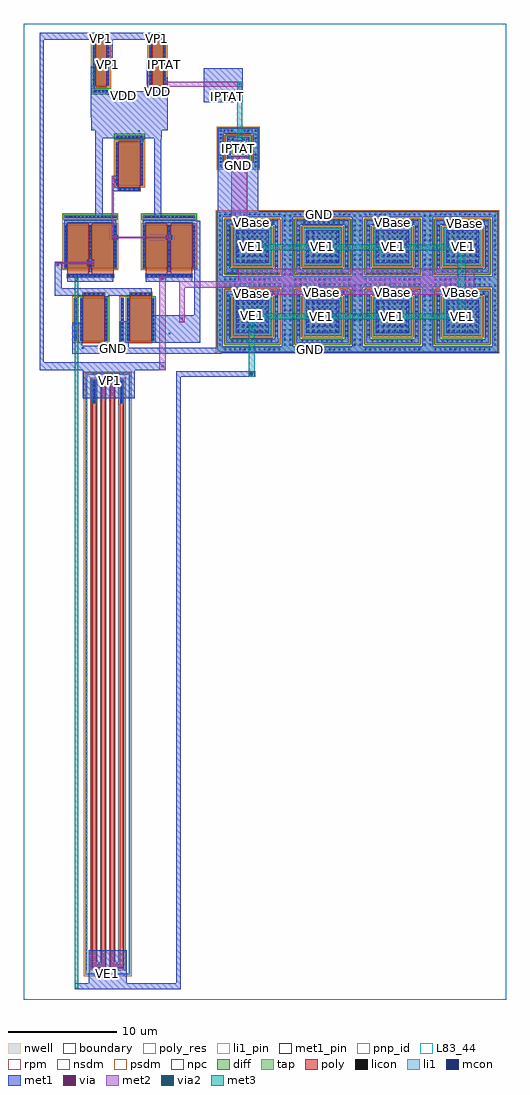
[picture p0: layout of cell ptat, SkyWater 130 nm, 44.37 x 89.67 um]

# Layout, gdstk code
from math import pi, radians
import gdstk
lib = gdstk.Library(unit=1e-6, precision=1e-09)
def R(c, l, rs):  # rectangles x0, y0, x1, y1
    for r in rs: c.add(gdstk.rectangle(r[:2], r[2:], *l))
def A(c, l, x, y, w, h, nx, ny, dx, dy):  # array of equal rectangles
    R(c, l, [(x+i*dx, y+j*dy, x+i*dx+w, y+j*dy+h) for i in range(nx) for j in range(ny)])
def P(c, l, *ps):  # polygons
    for p in ps: c.add(gdstk.Polygon(p, *l))
nwell = (64, 20)
diff = (65, 20)
tap = (65, 44)
poly_res = (66, 13)
poly = (66, 20)
licon = (66, 44)
li1_pin = (67, 16)
li1 = (67, 20)
mcon = (67, 44)
met1_pin = (68, 16)
met1 = (68, 20)
via = (68, 44)
met2 = (69, 20)
via2 = (69, 44)
met3 = (70, 20)
pnp_id = (82, 44)
L83_44 = (83, 44)
rpm = (86, 20)
nsdm = (93, 44)
psdm = (94, 20)
npc = (95, 20)
boundary = (235, 4)

m1m2_c_cdns_778501236214 = lib.new_cell('M1M2_C_CDNS_778501236214')
R(m1m2_c_cdns_778501236214, met1, [(-0.13,-0.16,0.13,0.16)])
R(m1m2_c_cdns_778501236214, via, [(-0.075,-0.075,0.075,0.075)])
R(m1m2_c_cdns_778501236214, met2, [(-0.13,-0.16,0.13,0.16)])

ota = lib.new_cell('ota')
R(ota, nwell, [(1.19,7.905,6.36,13.135), (8.415,7.905,13.585,13.135), (5.915,15.465,8.805,20.455)])
R(ota, diff, [(2.825,1.345,3.09,5.345), (3.09,1.345,5.09,5.345), (5.09,1.345,5.355,5.345), (7.135,1.345,7.4,5.345), (7.4,1.345,9.4,5.345), (9.4,1.345,9.665,5.345), (1.37,8.085,1.635,12.085), (1.635,8.085,3.635,12.085), (3.635,8.085,3.915,12.085), (3.915,8.085,5.915,12.085), (5.915,8.085,6.18,12.085), (8.595,8.085,8.86,12.085), (8.86,8.085,10.86,12.085), (10.86,8.085,11.14,12.085), (11.14,8.085,13.14,12.085), (13.14,8.085,13.405,12.085), (6.095,15.645,6.36,19.645), (6.36,15.645,8.36,19.645), (8.36,15.645,8.625,19.645)])
R(ota, tap, [(2.265,1.345,2.555,5.345), (6.575,1.345,6.865,5.345), (1.37,12.665,6.18,12.955), (8.595,12.665,13.405,12.955), (6.095,19.985,8.625,20.275)])
R(ota, poly, [(3.09,1.195,5.09,1.345), (7.4,1.195,9.4,1.345), (3.09,1.345,5.09,5.345), (7.4,1.345,9.4,5.345), (3.09,5.345,5.09,5.535), (7.4,5.345,9.4,5.535), (3.09,5.535,5.09,5.805), (7.4,5.535,9.4,5.805), (1.635,7.225,5.915,7.495), (8.86,7.225,13.14,7.495), (1.635,7.495,3.635,8.085), (3.915,7.495,5.915,8.085), (8.86,7.495,10.86,8.085), (11.14,7.495,13.14,8.085), (1.635,8.085,3.635,12.085), (3.915,8.085,5.915,12.085), (8.86,8.085,10.86,12.085), (11.14,8.085,13.14,12.085), (1.635,12.085,3.635,12.235), (3.915,12.085,5.915,12.235), (8.86,12.085,10.86,12.235), (11.14,12.085,13.14,12.235), (6.36,15.185,8.36,15.455), (6.36,15.455,8.36,15.645), (6.36,15.645,8.36,19.645), (6.36,19.645,8.36,19.795)])
A(ota, licon, 2.325, 1.56, 0.17, 0.17, 1, 11, 0, 0.34)
A(ota, licon, 2.865, 1.56, 0.17, 0.17, 1, 11, 0, 0.34)
A(ota, licon, 5.145, 1.56, 0.17, 0.17, 1, 11, 0, 0.34)
A(ota, licon, 6.635, 1.56, 0.17, 0.17, 1, 11, 0, 0.34)
A(ota, licon, 7.175, 1.56, 0.17, 0.17, 1, 11, 0, 0.34)
A(ota, licon, 9.455, 1.56, 0.17, 0.17, 1, 11, 0, 0.34)
A(ota, licon, 3.17, 5.585, 0.17, 0.17, 3, 1, 0.42, 0)
A(ota, licon, 7.48, 5.585, 0.17, 0.17, 3, 1, 0.42, 0)
A(ota, licon, 1.715, 7.275, 0.17, 0.17, 10, 1, 0.36, 0)
A(ota, licon, 8.94, 7.275, 0.17, 0.17, 10, 1, 0.36, 0)
A(ota, licon, 1.41, 8.3, 0.17, 0.17, 3, 11, 2.28, 0.34)
A(ota, licon, 8.635, 8.3, 0.17, 0.17, 3, 11, 2.28, 0.34)
A(ota, licon, 1.65, 12.725, 0.17, 0.17, 13, 1, 0.34, 0)
A(ota, licon, 8.875, 12.725, 0.17, 0.17, 13, 1, 0.34, 0)
A(ota, licon, 6.44, 15.235, 0.17, 0.17, 3, 1, 0.42, 0)
A(ota, licon, 6.135, 15.86, 0.17, 0.17, 1, 11, 0, 0.34)
A(ota, licon, 8.415, 15.86, 0.17, 0.17, 1, 11, 0, 0.34)
A(ota, licon, 6.255, 20.045, 0.17, 0.17, 7, 1, 0.34, 0)
R(ota, licon, [(4.425,5.585,4.595,5.755), (4.84,5.585,5.01,5.755), (8.735,5.585,8.905,5.755), (9.15,5.585,9.32,5.755), (5.31,7.275,5.48,7.445), (5.665,7.275,5.835,7.445), (12.535,7.275,12.705,7.445), (12.89,7.275,13.06,7.445), (7.695,15.235,7.865,15.405), (8.11,15.235,8.28,15.405)])
A(ota, li1, 1.41, 8.085, 0.17, 4, 3, 1, 2.28, 0)
A(ota, li1, 8.635, 8.085, 0.17, 4, 3, 1, 2.28, 0)
R(ota, li1, [(2.275,1.345,2.545,5.345), (2.865,1.345,3.035,5.345), (5.145,1.345,5.315,5.345), (6.585,1.345,6.855,5.345), (7.175,1.345,7.345,5.345), (9.455,1.345,9.625,5.345), (3.09,5.555,5.09,5.785), (7.4,5.555,9.4,5.785), (1.635,7.245,5.915,7.475), (8.86,7.245,13.14,7.475), (1.38,12.675,6.17,12.945), (8.605,12.675,13.395,12.945), (6.36,15.205,8.36,15.435), (6.135,15.645,6.305,19.645), (8.415,15.645,8.585,19.645), (6.105,19.995,8.615,20.265)])
A(ota, mcon, 2.325, 1.46, 0.17, 0.17, 1, 11, 0, 0.36)
A(ota, mcon, 2.865, 1.46, 0.17, 0.17, 1, 11, 0, 0.36)
A(ota, mcon, 5.145, 1.46, 0.17, 0.17, 1, 11, 0, 0.36)
A(ota, mcon, 6.635, 1.46, 0.17, 0.17, 1, 11, 0, 0.36)
A(ota, mcon, 7.175, 1.46, 0.17, 0.17, 1, 11, 0, 0.36)
A(ota, mcon, 9.455, 1.46, 0.17, 0.17, 1, 11, 0, 0.36)
A(ota, mcon, 3.17, 5.585, 0.17, 0.17, 3, 1, 0.42, 0)
A(ota, mcon, 7.48, 5.585, 0.17, 0.17, 3, 1, 0.42, 0)
A(ota, mcon, 1.715, 7.275, 0.17, 0.17, 11, 1, 0.395, 0)
A(ota, mcon, 8.94, 7.275, 0.17, 0.17, 11, 1, 0.395, 0)
A(ota, mcon, 1.41, 8.2, 0.17, 0.17, 3, 11, 2.28, 0.36)
A(ota, mcon, 8.635, 8.2, 0.17, 0.17, 3, 11, 2.28, 0.36)
A(ota, mcon, 1.53, 12.725, 0.17, 0.17, 13, 1, 0.36, 0)
A(ota, mcon, 8.755, 12.725, 0.17, 0.17, 13, 1, 0.36, 0)
A(ota, mcon, 6.44, 15.235, 0.17, 0.17, 3, 1, 0.42, 0)
A(ota, mcon, 6.135, 15.76, 0.17, 0.17, 1, 11, 0, 0.36)
A(ota, mcon, 8.415, 15.76, 0.17, 0.17, 1, 11, 0, 0.36)
A(ota, mcon, 6.195, 20.045, 0.17, 0.17, 7, 1, 0.36, 0)
R(ota, mcon, [(4.425,5.585,4.595,5.755), (4.84,5.585,5.01,5.755), (8.735,5.585,8.905,5.755), (9.15,5.585,9.32,5.755), (7.695,15.235,7.865,15.405), (8.11,15.235,8.28,15.405)])
R(ota, met1_pin, [(3.005,0.66,3.145,0.8), (10.99,2.025,11.13,2.165), (2.335,6.93,2.565,7.175), (10.365,7.04,10.505,7.18), (8.185,20.63,8.3,20.725)])
A(ota, met1, 1.38, 8.085, 0.23, 4, 3, 1, 2.28, 0)
A(ota, met1, 8.605, 8.085, 0.23, 4, 3, 1, 2.28, 0)
R(ota, met1, [(2.12,0.215,7.32,0.945), (2.12,0.555,3.02,3.08), (6.455,0.555,7.32,3.22), (9.495,1.215,13.875,3.73), (13.3,1.215,13.875,12.435), (2.275,1.345,2.545,5.345), (2.835,1.345,3.065,5.345), (5.115,1.345,5.345,5.345), (6.585,1.345,6.855,5.345), (7.145,1.345,7.375,5.345), (9.425,1.345,9.655,5.345), (5.075,3.525,5.36,6.08), (3.09,5.535,5.09,5.805), (7.4,5.535,9.4,5.805), (0.485,5.54,1.13,8.645), (0.485,5.54,9.41,6.21), (1.645,6.825,5.885,7.465), (8.88,6.825,13.12,7.465), (1.635,7.225,5.915,7.495), (8.86,7.225,13.14,7.495), (3.66,7.685,3.89,7.915), (10.885,7.685,11.115,7.915), (3.66,7.915,3.89,8.085), (10.885,7.915,11.115,8.085), (3.5,8.26,4.075,8.855), (5.755,10.75,6.33,11.11), (10.72,10.75,11.295,11.11), (1.38,12.085,1.61,12.255), (5.94,12.085,6.17,12.255), (8.605,12.085,8.835,12.255), (13.165,12.085,13.395,12.255), (1.38,12.255,6.17,12.485), (8.605,12.255,13.395,12.485), (1.38,12.675,6.17,12.945), (8.605,12.675,13.395,12.945), (4.245,12.685,4.91,20.905), (9.645,12.69,10.31,20.91), (5.76,15.14,6.605,15.475), (5.76,15.14,6.305,16.565), (6.36,15.185,8.36,15.455), (6.105,15.645,6.335,19.645), (8.385,15.645,8.615,19.645), (8.375,19.415,8.65,20.375), (4.245,19.995,10.335,20.91), (6.105,19.995,8.615,20.265)])
R(ota, met2, [(0.485,8.495,4.075,8.64), (5.76,10.765,5.915,16.565), (5.785,10.83,11.15,10.975)])
R(ota, nsdm, [(2.685,1.215,5.495,5.475), (6.995,1.215,9.805,5.475), (1.24,12.535,6.31,13.085), (8.465,12.535,13.535,13.085), (5.965,19.855,8.755,20.405)])
R(ota, psdm, [(2.125,1.205,2.695,5.485), (6.435,1.205,7.005,5.485), (1.23,7.955,6.32,12.215), (8.455,7.955,13.545,12.215), (5.955,15.515,8.765,19.775)])
R(ota, npc, [(3.04,5.485,5.14,5.855), (7.35,5.485,9.45,5.855), (1.585,7.175,5.965,7.545), (8.81,7.175,13.19,7.545), (6.31,15.135,8.41,15.505)])
ota.add(gdstk.Reference(m1m2_c_cdns_778501236214, (0.795,8.44)))
ota.add(gdstk.Reference(m1m2_c_cdns_778501236214, (5.95,10.93)))
ota.add(gdstk.Reference(m1m2_c_cdns_778501236214, (10.96,10.91)))
ota.add(gdstk.Reference(m1m2_c_cdns_778501236214, (5.96,16.075)))
ota.add(gdstk.Reference(m1m2_c_cdns_778501236214, (3.835,8.595)))
ota.add(gdstk.Label('VDD', (7.36,17.96), layer=64, texttype=20))
ota.add(gdstk.Label('VDD', (3.775,10.52), layer=64, texttype=20))
ota.add(gdstk.Label('VDD', (11,10.52), layer=64, texttype=20))
ota.add(gdstk.Label('V1', (2.45,7.052), layer=68, texttype=16))
ota.add(gdstk.Label('V2', (10.435,7.11), layer=68, texttype=16))
ota.add(gdstk.Label('GND', (3.075,0.73), layer=68, texttype=16))
ota.add(gdstk.Label('Vout', (11.06,2.095), layer=68, texttype=16))
ota.add(gdstk.Label('VDD', (8.242,20.677), layer=68, texttype=16))
ota.add(gdstk.Label('VDD', (7.36,20.13), layer=68, texttype=20))
ota.add(gdstk.Label('net2', (7.36,15.32), layer=68, texttype=20))
ota.add(gdstk.Label('VDD', (8.5,17.645), layer=68, texttype=20))
ota.add(gdstk.Label('net2', (6.22,17.645), layer=68, texttype=20))
ota.add(gdstk.Label('GND', (2.41,3.345), layer=68, texttype=20))
ota.add(gdstk.Label('net8', (4.09,5.67), layer=68, texttype=20))
ota.add(gdstk.Label('net8', (5.23,3.345), layer=68, texttype=20))
ota.add(gdstk.Label('GND', (2.95,3.345), layer=68, texttype=20))
ota.add(gdstk.Label('GND', (6.72,3.345), layer=68, texttype=20))
ota.add(gdstk.Label('net8', (8.4,5.67), layer=68, texttype=20))
ota.add(gdstk.Label('Vout', (9.54,3.345), layer=68, texttype=20))
ota.add(gdstk.Label('GND', (7.26,3.345), layer=68, texttype=20))
ota.add(gdstk.Label('VDD', (3.775,12.81), layer=68, texttype=20))
ota.add(gdstk.Label('V1', (3.775,7.36), layer=68, texttype=20))
ota.add(gdstk.Label('net8', (3.775,7.8), layer=68, texttype=20))
ota.add(gdstk.Label('net8', (3.775,8), layer=68, texttype=20))
ota.add(gdstk.Label('net8', (3.775,10.085), layer=68, texttype=20))
ota.add(gdstk.Label('net2', (3.775,12.37), layer=68, texttype=20))
ota.add(gdstk.Label('net2', (6.055,12.17), layer=68, texttype=20))
ota.add(gdstk.Label('net2', (1.495,12.17), layer=68, texttype=20))
ota.add(gdstk.Label('net2', (6.055,10.085), layer=68, texttype=20))
ota.add(gdstk.Label('net2', (1.495,10.085), layer=68, texttype=20))
ota.add(gdstk.Label('VDD', (11,12.81), layer=68, texttype=20))
ota.add(gdstk.Label('V2', (11,7.36), layer=68, texttype=20))
ota.add(gdstk.Label('net2', (11,7.8), layer=68, texttype=20))
ota.add(gdstk.Label('net2', (11,8), layer=68, texttype=20))
ota.add(gdstk.Label('net2', (11,10.085), layer=68, texttype=20))
ota.add(gdstk.Label('Vout', (11,12.37), layer=68, texttype=20))
ota.add(gdstk.Label('Vout', (13.28,12.17), layer=68, texttype=20))
ota.add(gdstk.Label('Vout', (8.72,12.17), layer=68, texttype=20))
ota.add(gdstk.Label('Vout', (13.28,10.085), layer=68, texttype=20))
ota.add(gdstk.Label('Vout', (8.72,10.085), layer=68, texttype=20))
ota.add(gdstk.Label('net2', (7.36,15.32), layer=67, texttype=20))
ota.add(gdstk.Label('GND', (2.41,3.345), layer=67, texttype=20))
ota.add(gdstk.Label('net8', (4.09,5.67), layer=67, texttype=20))
ota.add(gdstk.Label('GND', (6.72,3.345), layer=67, texttype=20))
ota.add(gdstk.Label('net8', (8.4,5.67), layer=67, texttype=20))
ota.add(gdstk.Label('V1', (3.775,7.36), layer=67, texttype=20))
ota.add(gdstk.Label('V2', (11,7.36), layer=67, texttype=20))
ota.add(gdstk.Label('VDD', (8.492,17.645), layer=65, texttype=20))
ota.add(gdstk.Label('net2', (6.227,17.645), layer=65, texttype=20))
ota.add(gdstk.Label('net8', (5.222,3.345), layer=65, texttype=20))
ota.add(gdstk.Label('GND', (2.957,3.345), layer=65, texttype=20))
ota.add(gdstk.Label('Vout', (9.532,3.345), layer=65, texttype=20))
ota.add(gdstk.Label('GND', (7.267,3.345), layer=65, texttype=20))
ota.add(gdstk.Label('net2', (6.047,10.085), layer=65, texttype=20))
ota.add(gdstk.Label('net2', (1.502,10.085), layer=65, texttype=20))
ota.add(gdstk.Label('Vout', (13.272,10.085), layer=65, texttype=20))
ota.add(gdstk.Label('Vout', (8.727,10.085), layer=65, texttype=20))

sky130_fd_pr__rf_pnp_05v = lib.new_cell('sky130_fd_pr__rf_pnp_05v5_W0p68L0p68')
R(sky130_fd_pr__rf_pnp_05v, nwell, [(0.765,0.765,3.215,3.215)])
R(sky130_fd_pr__rf_pnp_05v, diff, [(1.65,1.65,2.33,2.33)])
P(sky130_fd_pr__rf_pnp_05v, tap, [(3.035,3.035),(2.675,3.035),(2.675,1.305),(1.305,1.305),(1.305,2.675),(2.675,2.675),(2.675,3.035),(0.945,3.035),(0.945,0.945),(3.035,0.945)],
  [(3.85,3.85),(3.345,3.85),(3.345,0.635),(0.635,0.635),(0.635,3.345),(3.345,3.345),(3.345,3.85),(0.13,3.85),(0.13,0.13),(3.85,0.13)])
A(sky130_fd_pr__rf_pnp_05v, licon, 0.3, 0.3, 0.17, 0.17, 4, 2, 0.34, 3.21)
A(sky130_fd_pr__rf_pnp_05v, licon, 2.49, 0.3, 0.17, 0.17, 4, 2, 0.34, 3.21)
A(sky130_fd_pr__rf_pnp_05v, licon, 0.3, 0.64, 0.17, 0.17, 1, 3, 0, 0.34)
A(sky130_fd_pr__rf_pnp_05v, licon, 3.51, 0.64, 0.17, 0.17, 1, 3, 0, 0.34)
A(sky130_fd_pr__rf_pnp_05v, licon, 0.3, 2.49, 0.17, 0.17, 1, 3, 0, 0.34)
A(sky130_fd_pr__rf_pnp_05v, licon, 3.51, 2.49, 0.17, 0.17, 1, 3, 0, 0.34)
R(sky130_fd_pr__rf_pnp_05v, licon, [(1.065,1.065,1.235,1.235), (1.405,1.065,1.575,1.235), (2.405,1.065,2.575,1.235), (2.745,1.065,2.915,1.235), (1.065,1.405,1.235,1.575), (2.745,1.405,2.915,1.575), (1.735,1.735,1.905,1.905), (2.075,1.735,2.245,1.905), (1.735,2.075,1.905,2.245), (2.075,2.075,2.245,2.245), (1.065,2.405,1.235,2.575), (2.745,2.405,2.915,2.575), (1.065,2.745,1.235,2.915), (1.405,2.745,1.575,2.915), (2.405,2.745,2.575,2.915), (2.745,2.745,2.915,2.915)])
R(sky130_fd_pr__rf_pnp_05v, li1_pin, [(1.875,1.89,2.105,2.11), (3.51,1.915,3.715,2.045), (2.78,1.92,2.915,2.05)])
R(sky130_fd_pr__rf_pnp_05v, li1, [(1.595,1.595,2.385,2.385)])
P(sky130_fd_pr__rf_pnp_05v, li1, [(3.035,3.035),(2.675,3.035),(2.675,1.305),(1.305,1.305),(1.305,2.675),(2.675,2.675),(2.675,3.035),(0.945,3.035),(0.945,0.945),(3.035,0.945)],
  [(3.85,3.85),(3.345,3.85),(3.345,0.635),(0.635,0.635),(0.635,3.345),(3.345,3.345),(3.345,3.85),(0.13,3.85),(0.13,0.13),(3.85,0.13)])
R(sky130_fd_pr__rf_pnp_05v, mcon, [(1.665,1.665,1.835,1.835), (2.145,1.665,2.315,1.835), (1.665,2.145,1.835,2.315), (2.145,2.145,2.315,2.315)])
R(sky130_fd_pr__rf_pnp_05v, met1, [(1.575,1.575,2.405,2.405)])
R(sky130_fd_pr__rf_pnp_05v, pnp_id, [(0.135,0.135,3.845,3.845)])
P(sky130_fd_pr__rf_pnp_05v, L83_44, [(1.065,2.89),(1.06,2.89),(1.06,2.825),(1.04,2.845),(1.04,2.825),(0.97,2.825),(0.97,2.845),(0.95,2.825),(0.95,2.89),(0.945,2.89),(0.945,2.76),(0.95,2.76),(0.95,2.82),(0.97,2.8),(0.97,2.82),(1.04,2.82),(1.04,2.8),(1.06,2.82),(1.06,2.76),(1.065,2.76)],
  [(1.01,2.78),(1.005,2.815),(0.985,2.78),(1,2.785),(0.975,2.62),(0.975,2.615),(1.001,2.785)],
  [(1.305,2.275),(1.3,2.275),(1.3,2.21),(1.28,2.23),(1.28,2.21),(0.97,2.21),(0.97,2.23),(0.95,2.21),(0.95,2.275),(0.945,2.275),(0.945,2.145),(0.95,2.145),(0.95,2.205),(0.97,2.185),(0.97,2.205),(1.28,2.205),(1.28,2.185),(1.3,2.205),(1.3,2.145),(1.305,2.145)],
  [(1.725,3.1),(0.79,3.1),(0.79,3.12),(0.77,3.1),(0.77,3.165),(0.765,3.165),(0.765,3.035),(0.77,3.035),(0.77,3.095),(0.79,3.075),(0.79,3.095),(1.725,3.095)],
  [(1.855,3.915),(0.155,3.915),(0.155,3.935),(0.135,3.915),(0.135,3.98),(0.13,3.98),(0.13,3.85),(0.135,3.85),(0.135,3.91),(0.155,3.89),(0.155,3.91),(1.855,3.91)],
  [(1.885,2.395),(1.675,2.395),(1.675,2.415),(1.655,2.395),(1.655,2.46),(1.65,2.46),(1.65,2.33),(1.655,2.33),(1.655,2.39),(1.675,2.37),(1.675,2.39),(1.885,2.39)],
  [(1.885,0.88),(0.97,0.88),(0.97,0.9),(0.95,0.88),(0.95,0.945),(0.945,0.945),(0.945,0.815),(0.95,0.815),(0.95,0.875),(0.97,0.855),(0.97,0.875),(1.885,0.875)],
  [(2.029,1.959),(1.998,1.99),(2.029,2.021),(2.021,2.029),(1.99,1.998),(1.959,2.029),(1.951,2.021),(1.982,1.99),(1.951,1.959),(1.959,1.951),(1.99,1.982),(2.021,1.951)],
  [(2.17,0.745),(2.165,0.745),(2.165,0.68),(2.145,0.7),(2.145,0.68),(1.835,0.68),(1.835,0.7),(1.815,0.68),(1.815,0.745),(1.81,0.745),(1.81,0.615),(1.815,0.615),(1.815,0.675),(1.835,0.655),(1.835,0.675),(2.145,0.675),(2.145,0.655),(2.165,0.675),(2.165,0.615),(2.17,0.615)],
  [(2.33,2.46),(2.325,2.46),(2.325,2.395),(2.305,2.415),(2.305,2.395),(2.095,2.395),(2.095,2.39),(2.305,2.39),(2.305,2.37),(2.325,2.39),(2.325,2.33),(2.33,2.33)],
  [(2.675,1.715),(2.67,1.715),(2.67,1.65),(2.65,1.67),(2.65,1.65),(2.355,1.65),(2.355,1.67),(2.335,1.65),(2.335,1.715),(2.33,1.715),(2.33,1.585),(2.335,1.585),(2.335,1.645),(2.355,1.625),(2.355,1.645),(2.65,1.645),(2.65,1.625),(2.67,1.645),(2.67,1.585),(2.675,1.585)],
  [(3.035,0.945),(3.03,0.945),(3.03,0.88),(3.01,0.9),(3.01,0.88),(2.095,0.88),(2.095,0.875),(3.01,0.875),(3.01,0.855),(3.03,0.875),(3.03,0.815),(3.035,0.815)],
  [(3.215,3.165),(3.21,3.165),(3.21,3.1),(3.19,3.12),(3.19,3.1),(2.26,3.1),(2.26,3.095),(3.19,3.095),(3.19,3.075),(3.21,3.095),(3.21,3.035),(3.215,3.035)],
  [(3.345,2.73),(3.34,2.73),(3.34,2.665),(3.32,2.685),(3.32,2.665),(3.06,2.665),(3.06,2.685),(3.04,2.665),(3.04,2.73),(3.035,2.73),(3.035,2.6),(3.04,2.6),(3.04,2.66),(3.06,2.64),(3.06,2.66),(3.32,2.66),(3.32,2.64),(3.34,2.66),(3.34,2.6),(3.345,2.6)],
  [(3.85,3.98),(3.845,3.98),(3.845,3.915),(3.825,3.935),(3.825,3.915),(2.12,3.915),(2.12,3.91),(3.825,3.91),(3.825,3.89),(3.845,3.91),(3.845,3.85),(3.85,3.85)],
  [(3.85,1.715),(3.845,1.715),(3.845,1.65),(3.825,1.67),(3.825,1.65),(3.37,1.65),(3.37,1.67),(3.35,1.65),(3.35,1.715),(3.345,1.715),(3.345,1.585),(3.35,1.585),(3.35,1.645),(3.37,1.625),(3.37,1.645),(3.825,1.645),(3.825,1.625),(3.845,1.645),(3.845,1.585),(3.85,1.585)])
P(sky130_fd_pr__rf_pnp_05v, nsdm, [(3.165,3.165),(2.545,3.165),(2.545,1.435),(1.435,1.435),(1.435,2.545),(2.545,2.545),(2.545,3.165),(0.815,3.165),(0.815,0.815),(3.165,0.815)])
R(sky130_fd_pr__rf_pnp_05v, psdm, [(1.52,1.52,2.46,2.46)])
P(sky130_fd_pr__rf_pnp_05v, psdm, [(3.98,3.98),(3.215,3.98),(3.215,0.765),(0.765,0.765),(0.765,3.215),(3.215,3.215),(3.215,3.98),(0,3.98),(0,0),(3.98,0)])
sky130_fd_pr__rf_pnp_05v.add(gdstk.Label('Use 28 licons in collector to match PNP model', (2.025,0.45), layer=83, texttype=44))
sky130_fd_pr__rf_pnp_05v.add(gdstk.Label('Use 12 licons in base to match PNP model', (2.025,1.115), layer=83, texttype=44))
sky130_fd_pr__rf_pnp_05v.add(gdstk.Label('0.12 min', (0.845,2.585), layer=83, texttype=44))
sky130_fd_pr__rf_pnp_05v.add(gdstk.Label('adj. sides', (0.845,2.48), layer=83, texttype=44))
sky130_fd_pr__rf_pnp_05v.add(gdstk.Label('0.360', (1.985,0.74), layer=83, texttype=44))
sky130_fd_pr__rf_pnp_05v.add(gdstk.Label('3.720', (1.99,3.92), layer=83, texttype=44))
sky130_fd_pr__rf_pnp_05v.add(gdstk.Label('2.450(nwell)', (1.99,3.105), layer=83, texttype=44))
sky130_fd_pr__rf_pnp_05v.add(gdstk.Label('0.505', (3.595,1.71), layer=83, texttype=44))
sky130_fd_pr__rf_pnp_05v.add(gdstk.Label('0.310', (3.19,2.725), layer=83, texttype=44))
sky130_fd_pr__rf_pnp_05v.add(gdstk.Label('0.360', (1.12,2.27), layer=83, texttype=44))
sky130_fd_pr__rf_pnp_05v.add(gdstk.Label('0.345', (2.5,1.71), layer=83, texttype=44))
sky130_fd_pr__rf_pnp_05v.add(gdstk.Label('2.090', (1.99,0.885), layer=83, texttype=44))
sky130_fd_pr__rf_pnp_05v.add(gdstk.Label('0.068', (1.99,2.4), layer=83, texttype=44))
sky130_fd_pr__rf_pnp_05v.add(gdstk.Label('Emitter', (1.99,2), layer=67, texttype=5))
sky130_fd_pr__rf_pnp_05v.add(gdstk.Label('Collector', (3.615,1.98), layer=67, texttype=5))
sky130_fd_pr__rf_pnp_05v.add(gdstk.Label('Base', (2.85,1.985), layer=67, texttype=5))

c_sky130_fd_pr__rf_pnp_05v = lib.new_cell('sky130_fd_pr__rf_pnp_05v5_W3p40L3p40')
R(c_sky130_fd_pr__rf_pnp_05v, nwell, [(0.765,0.765,5.935,5.935)])
R(c_sky130_fd_pr__rf_pnp_05v, diff, [(1.65,1.65,5.05,5.05)])
P(c_sky130_fd_pr__rf_pnp_05v, tap, [(0.13,0.13),(6.57,0.13),(6.57,6.57),(6.065,6.57),(6.065,0.635),(0.635,0.635),(0.635,6.065),(6.065,6.065),(6.065,6.57),(0.13,6.57)],
  [(0.945,0.945),(5.755,0.945),(5.755,5.755),(5.395,5.755),(5.395,1.305),(1.305,1.305),(1.305,5.395),(5.395,5.395),(5.395,5.755),(0.945,5.755)])
A(c_sky130_fd_pr__rf_pnp_05v, licon, 0.78, 0.29, 0.17, 0.17, 12, 2, 0.45, 5.935)
A(c_sky130_fd_pr__rf_pnp_05v, licon, 0.3, 0.71, 0.17, 0.17, 1, 13, 0, 0.45)
A(c_sky130_fd_pr__rf_pnp_05v, licon, 6.235, 0.71, 0.17, 0.17, 1, 13, 0, 0.45)
A(c_sky130_fd_pr__rf_pnp_05v, licon, 1.43, 1.04, 0.17, 0.17, 9, 1, 0.45, 0)
A(c_sky130_fd_pr__rf_pnp_05v, licon, 5.49, 1.51, 0.17, 0.17, 1, 9, 0, 0.45)
A(c_sky130_fd_pr__rf_pnp_05v, licon, 1.04, 1.605, 0.17, 0.17, 1, 9, 0, 0.45)
A(c_sky130_fd_pr__rf_pnp_05v, licon, 1.92, 1.92, 0.17, 0.17, 7, 7, 0.45, 0.45)
A(c_sky130_fd_pr__rf_pnp_05v, licon, 1.6, 5.49, 0.17, 0.17, 9, 1, 0.45, 0)
R(c_sky130_fd_pr__rf_pnp_05v, li1_pin, [(2.77,3.13,4.01,3.65), (2.95,5.51,3.54,5.71), (3.065,6.26,3.57,6.505)])
A(c_sky130_fd_pr__rf_pnp_05v, li1, 0.58, 0.21, 0.33, 0.33, 12, 1, 0.45, 0)
A(c_sky130_fd_pr__rf_pnp_05v, li1, 0.675, 0.24, 0.27, 0.27, 11, 2, 0.5, 5.96)
A(c_sky130_fd_pr__rf_pnp_05v, li1, 6.16, 0.54, 0.33, 0.33, 1, 13, 0, 0.45)
A(c_sky130_fd_pr__rf_pnp_05v, li1, 0.22, 0.63, 0.33, 0.33, 1, 13, 0, 0.45)
A(c_sky130_fd_pr__rf_pnp_05v, li1, 1.35, 0.96, 0.33, 0.33, 9, 1, 0.45, 0)
A(c_sky130_fd_pr__rf_pnp_05v, li1, 1.14, 0.985, 0.27, 0.27, 9, 1, 0.5, 0)
A(c_sky130_fd_pr__rf_pnp_05v, li1, 5.41, 1.43, 0.33, 0.33, 1, 9, 0, 0.45)
A(c_sky130_fd_pr__rf_pnp_05v, li1, 0.96, 1.525, 0.33, 0.33, 1, 9, 0, 0.45)
A(c_sky130_fd_pr__rf_pnp_05v, li1, 1.84, 1.84, 0.33, 0.33, 7, 7, 0.45, 0.45)
A(c_sky130_fd_pr__rf_pnp_05v, li1, 1.93, 1.93, 0.27, 0.27, 6, 6, 0.5, 0.5)
A(c_sky130_fd_pr__rf_pnp_05v, li1, 1.52, 5.41, 0.33, 0.33, 9, 1, 0.45, 0)
A(c_sky130_fd_pr__rf_pnp_05v, li1, 1.155, 5.44, 0.27, 0.27, 9, 1, 0.5, 0)
A(c_sky130_fd_pr__rf_pnp_05v, li1, 0.7, 6.165, 0.33, 0.33, 12, 1, 0.45, 0)
R(c_sky130_fd_pr__rf_pnp_05v, li1, [(1.615,1.615,5.085,5.085), (1.65,1.65,5.05,5.05)])
P(c_sky130_fd_pr__rf_pnp_05v, li1, [(0.945,0.945),(5.755,0.945),(5.755,5.755),(5.395,5.755),(5.395,1.305),(1.305,1.305),(1.305,5.395),(5.395,5.395),(5.395,5.755),(0.945,5.755)],
  [(0.13,0.13),(6.57,0.13),(6.57,6.57),(6.075,6.57),(6.075,0.625),(0.625,0.625),(0.625,6.075),(6.075,6.075),(6.075,6.57),(0.13,6.57)])
A(c_sky130_fd_pr__rf_pnp_05v, mcon, 1.98, 1.98, 0.17, 0.17, 6, 6, 0.5, 0.5)
A(c_sky130_fd_pr__rf_pnp_05v, met1, 1.93, 1.93, 0.27, 0.27, 6, 6, 0.5, 0.5)
R(c_sky130_fd_pr__rf_pnp_05v, met1, [(1.825,1.825,4.875,4.875)])
R(c_sky130_fd_pr__rf_pnp_05v, pnp_id, [(0.135,0.135,6.565,6.565)])
P(c_sky130_fd_pr__rf_pnp_05v, nsdm, [(0.805,0.805),(5.895,0.805),(5.895,5.895),(5.265,5.895),(5.265,1.435),(1.435,1.435),(1.435,5.265),(5.265,5.265),(5.265,5.895),(0.805,5.895)])
R(c_sky130_fd_pr__rf_pnp_05v, psdm, [(1.52,1.52,5.18,5.18)])
P(c_sky130_fd_pr__rf_pnp_05v, psdm, [(0,0),(6.7,0),(6.7,6.7),(5.935,6.7),(5.935,0.765),(0.765,0.765),(0.765,5.935),(5.935,5.935),(5.935,6.7),(0,6.7)])
c_sky130_fd_pr__rf_pnp_05v.add(gdstk.Label('Base', (3.245,5.61), layer=67, texttype=5))
c_sky130_fd_pr__rf_pnp_05v.add(gdstk.Label('Collector', (3.32,6.38), layer=67, texttype=5))
c_sky130_fd_pr__rf_pnp_05v.add(gdstk.Label('Emitter', (3.39,3.39), layer=67, texttype=5))

bjt = lib.new_cell('bjt')
r = gdstk.Reference(c_sky130_fd_pr__rf_pnp_05v, (0.03,0.06)); r.repetition = gdstk.Repetition(4, 2, v1=(6.44,0), v2=(0,6.44)); bjt.add(r)

sky130_fd_pr__res_high_p = lib.new_cell('sky130_fd_pr__res_high_po_0p35_F77MP8')
R(sky130_fd_pr__res_high_p, tap, [(-2.07,-27.65,2.07,-27.48), (-2.07,-27.48,-1.9,27.48), (1.9,-27.48,2.07,27.48), (-2.07,27.48,2.07,27.65)])
R(sky130_fd_pr__res_high_p, poly_res, [(-0.59,-27,0.59,-26.65), (-0.59,-26.65,-0.24,26.65), (0.24,-26.65,0.59,26.65), (-1.42,-24.92,-1.07,26.65), (1.07,-24.92,1.42,26.65), (-1.42,26.65,-0.24,27), (0.24,26.65,1.42,27)])
R(sky130_fd_pr__res_high_p, poly, [(-1.42,-27,-1.07,26.65), (-0.59,-27,0.59,-26.65), (1.07,-27,1.42,26.65), (-0.59,-26.65,-0.24,26.65), (0.24,-26.65,0.59,26.65), (-1.42,26.65,-0.24,27), (0.24,26.65,1.42,27)])
A(sky130_fd_pr__res_high_p, licon, -1.445, -27.65, 0.17, 0.17, 9, 2, 0.34, 55.13)
A(sky130_fd_pr__res_high_p, licon, -2.07, -27.115, 0.17, 0.17, 1, 160, 0, 0.34)
A(sky130_fd_pr__res_high_p, licon, 1.9, -27.115, 0.17, 0.17, 1, 160, 0, 0.34)
R(sky130_fd_pr__res_high_p, licon, [(-1.34,-26.92,-1.15,-24.92), (1.15,-26.92,1.34,-24.92)])
R(sky130_fd_pr__res_high_p, li1, [(-2.07,-27.65,2.07,-27.48), (-2.07,-27.48,-1.9,27.48), (1.9,-27.48,2.07,27.48), (-1.42,-27,-1.07,-24.84), (1.07,-27,1.42,-24.84), (-2.07,27.48,2.07,27.65)])
A(sky130_fd_pr__res_high_p, mcon, -1.33, -26.905, 0.17, 0.17, 1, 6, 0, 0.36)
A(sky130_fd_pr__res_high_p, mcon, 1.16, -26.905, 0.17, 0.17, 1, 6, 0, 0.36)
R(sky130_fd_pr__res_high_p, met1, [(-1.37,-26.97,-1.12,-24.865), (1.12,-26.97,1.37,-24.865)])
R(sky130_fd_pr__res_high_p, rpm, [(-1.62,-27.2,1.62,27.2)])
R(sky130_fd_pr__res_high_p, psdm, [(-2.195,-27.775,2.195,27.775)])
R(sky130_fd_pr__res_high_p, npc, [(-1.515,-27.095,-0.975,26.555), (-0.685,-27.095,0.685,-26.555), (0.975,-27.095,1.515,26.555), (-0.685,-26.555,-0.145,26.555), (0.145,-26.555,0.685,26.555), (-1.515,26.555,-0.145,27.095), (0.145,26.555,1.515,27.095)])
R(sky130_fd_pr__res_high_p, boundary, [(-1.985,-27.565,1.985,27.565)])
sky130_fd_pr__res_high_p.add(gdstk.Label('R2', (1.245,-26.825), layer=67, texttype=5))
sky130_fd_pr__res_high_p.add(gdstk.Label('R1', (-1.245,-26.825), layer=67, texttype=5))
sky130_fd_pr__res_high_p.add(gdstk.Label('B', (0,-27.565), layer=67, texttype=5))

m2m3_c_cdns_778501236212 = lib.new_cell('M2M3_C_CDNS_778501236212')
R(m2m3_c_cdns_778501236212, met2, [(-0.14,-0.185,0.14,0.185)])
R(m2m3_c_cdns_778501236212, via2, [(-0.1,-0.1,0.1,0.1)])
R(m2m3_c_cdns_778501236212, met3, [(-0.165,-0.165,0.165,0.165)])

m1m2_c_cdns_778501236215 = lib.new_cell('M1M2_C_CDNS_778501236215')
R(m1m2_c_cdns_778501236215, met1, [(-0.13,-0.16,0.13,0.16)])
R(m1m2_c_cdns_778501236215, via, [(-0.075,-0.075,0.075,0.075)])
R(m1m2_c_cdns_778501236215, met2, [(-0.14,-0.185,0.14,0.185)])

ptat = lib.new_cell('ptat')
R(ptat, nwell, [(11.625,82.68,13.515,87.67), (6.435,82.685,8.325,87.675)])
R(ptat, diff, [(11.805,83.49,12.07,87.49), (12.07,83.49,13.07,87.49), (13.07,83.49,13.335,87.49), (6.615,83.495,6.88,87.495), (6.88,83.495,7.88,87.495), (7.88,83.495,8.145,87.495)])
R(ptat, tap, [(11.805,82.86,13.335,83.15), (6.615,82.865,8.145,83.155)])
R(ptat, poly, [(12.07,83.34,13.07,83.49), (6.88,83.345,7.88,83.495), (12.07,83.49,13.07,87.49), (6.88,83.495,7.88,87.495), (12.07,87.49,13.07,87.68), (6.88,87.495,7.88,87.685), (12.07,87.68,13.07,87.95), (6.88,87.685,7.88,87.955)])
A(ptat, licon, 11.975, 82.92, 0.17, 0.17, 4, 1, 0.34, 0)
A(ptat, licon, 6.785, 82.925, 0.17, 0.17, 4, 1, 0.34, 0)
A(ptat, licon, 11.845, 83.705, 0.17, 0.17, 1, 11, 0, 0.34)
A(ptat, licon, 13.125, 83.705, 0.17, 0.17, 1, 11, 0, 0.34)
A(ptat, licon, 6.655, 83.71, 0.17, 0.17, 1, 11, 0, 0.34)
A(ptat, licon, 7.935, 83.71, 0.17, 0.17, 1, 11, 0, 0.34)
R(ptat, licon, [(12.15,87.73,12.32,87.9), (12.82,87.73,12.99,87.9), (6.96,87.735,7.13,87.905), (7.63,87.735,7.8,87.905)])
R(ptat, li1, [(11.815,82.87,13.325,83.14), (6.625,82.875,8.135,83.145), (11.845,83.49,12.015,87.49), (13.125,83.49,13.295,87.49), (6.655,83.495,6.825,87.495), (7.935,83.495,8.105,87.495), (12.07,87.7,13.07,87.93), (6.88,87.705,7.88,87.935)])
A(ptat, mcon, 11.945, 82.92, 0.17, 0.17, 4, 1, 0.36, 0)
A(ptat, mcon, 6.755, 82.925, 0.17, 0.17, 4, 1, 0.36, 0)
A(ptat, mcon, 11.845, 83.605, 0.17, 0.17, 1, 11, 0, 0.36)
A(ptat, mcon, 13.125, 83.605, 0.17, 0.17, 1, 11, 0, 0.36)
A(ptat, mcon, 6.655, 83.61, 0.17, 0.17, 1, 11, 0, 0.36)
A(ptat, mcon, 7.935, 83.61, 0.17, 0.17, 1, 11, 0, 0.36)
R(ptat, mcon, [(12.15,87.73,12.32,87.9), (12.82,87.73,12.99,87.9), (6.96,87.735,7.13,87.905), (7.63,87.735,7.8,87.905)])
R(ptat, met1_pin, [(8.42,59.29,8.56,59.43), (18.915,82.425,19.055,82.565), (9.36,82.545,9.5,82.685)])
R(ptat, met1, [(4.95,0.49,14.66,1.05), (6.23,0.49,9.75,4.07), (14.3,0.51,14.7,57.25), (5.7,54.8,10.45,58.07), (14.285,56.77,21.525,57.27), (1.72,57.37,13.33,58.08), (1.73,57.42,2.11,88.35), (8.28,58.89,18.46,59.45), (18.04,58.98,43.86,59.54), (43.32,59.03,43.85,71.99), (18.01,59.07,18.55,71.93), (23.97,59.07,25.01,71.93), (30.43,59.07,31.43,71.93), (36.87,59.07,37.87,71.93), (25.33,59.85,30.12,60.23), (31.77,59.85,36.56,60.23), (38.2,59.85,42.99,60.23), (18.87,59.86,19.21,64.66), (18.89,59.86,23.68,60.24), (23.33,59.86,23.67,64.66), (25.32,59.86,25.66,64.66), (29.75,59.86,30.09,64.66), (31.76,59.86,32.1,64.66), (36.2,59.86,36.54,64.66), (38.21,59.86,38.55,64.66), (42.65,59.86,42.99,64.66), (18.89,64.29,23.68,64.67), (25.33,64.29,30.12,64.67), (31.77,64.3,36.56,64.68), (38.18,64.3,42.97,64.68), (18.03,64.98,43.79,66.01), (18.87,66.29,23.66,66.67), (25.33,66.29,30.12,66.67), (31.77,66.29,36.56,66.67), (18.87,66.31,19.21,71.11), (23.33,66.31,23.67,71.11), (25.32,66.31,25.66,71.11), (29.75,66.31,30.09,71.11), (31.76,66.31,32.1,71.11), (36.2,66.31,36.54,71.11), (38.2,66.31,38.54,71.11), (42.65,66.31,42.99,71.11), (38.18,66.32,42.97,66.7), (38.19,66.32,42.98,66.7), (38.19,66.32,42.98,66.7), (18.87,70.75,23.66,71.13), (25.33,70.75,30.12,71.13), (31.72,70.75,36.51,71.13), (38.18,70.75,42.97,71.13), (17.98,71.43,43.82,71.97), (18.11,71.69,21.83,76.41), (21.29,75.9,21.83,79.61), (18.11,75.93,18.61,79.61), (18.96,76.72,20.97,77.07), (20.67,76.72,21.01,78.82), (18.95,76.73,19.29,78.79), (18.96,78.44,21,78.82), (18.17,79.11,21.78,79.59), (6.48,79.41,13.48,81.04), (6.445,80.625,13.48,82.99), (6.41,81.745,6.81,85.24), (11.565,81.76,11.965,85.605), (16.81,81.98,20.38,85.13), (11.815,82.87,13.325,83.14), (6.625,82.875,8.135,83.145), (13.13,83.365,13.485,84.215), (11.815,83.49,12.045,87.49), (13.095,83.49,13.325,87.49), (6.625,83.495,6.855,87.495), (7.905,83.495,8.135,87.495), (8.055,85.31,8.425,88.345), (7.905,85.59,8.12,86.19), (12.07,87.68,13.07,87.95), (6.88,87.685,7.88,87.955), (1.735,87.71,13.13,88.36)])
R(ptat, met2, [(12.71,57.36,13.33,65.99), (14.54,61.77,15.07,65.54), (19.97,64.29,41.66,66.68), (14.55,64.96,20.86,65.56), (19.33,70.7,20.8,77.02), (13.205,83.415,20.395,83.855)])
R(ptat, met3, [(4.94,0.52,5.3,65.87), (20.94,56.78,21.5,62.6), (20.96,62.04,40.91,62.6), (40.15,62.06,40.86,68.94), (20.96,68.39,40.91,68.95), (19.89,77.39,20.36,83.87)])
R(ptat, nsdm, [(11.675,82.73,13.465,83.28), (6.485,82.735,8.275,83.285)])
R(ptat, psdm, [(11.665,83.36,13.475,87.62), (6.475,83.365,8.285,87.625)])
R(ptat, npc, [(12.02,87.63,13.12,88), (6.83,87.635,7.93,88.005)])
R(ptat, boundary, [(0.25,-0.45,44.62,89.22)])
ptat.add(gdstk.Reference(ota, (2.615,58.665)))
ptat.add(gdstk.Reference(sky130_fd_pr__rf_pnp_05v, (17.99,75.77)))
ptat.add(gdstk.Reference(bjt, (17.89,58.86)))
r = gdstk.Reference(sky130_fd_pr__res_high_p, (8,29.46), rotation=pi); r.repetition = gdstk.Repetition(1, 1, v1=(-5.393,0), v2=(0,-56.34)); ptat.add(r)
ptat.add(gdstk.Reference(m1m2_c_cdns_778501236214, (14.8,62.1)))
ptat.add(gdstk.Reference(m1m2_c_cdns_778501236214, (13.365,83.645)))
ptat.add(gdstk.Reference(m1m2_c_cdns_778501236214, (20.06,70.94)))
ptat.add(gdstk.Reference(m1m2_c_cdns_778501236214, (20.45,64.54)))
ptat.add(gdstk.Reference(m1m2_c_cdns_778501236214, (20.03,76.86)))
ptat.add(gdstk.Reference(m1m2_c_cdns_778501236214, (12.95,65.77)))
ptat.add(gdstk.Reference(m1m2_c_cdns_778501236214, (13.04,57.76)))
ptat.add(gdstk.Reference(m2m3_c_cdns_778501236212, (40.45,68.67)))
ptat.add(gdstk.Reference(m2m3_c_cdns_778501236212, (20.11,77.76)))
ptat.add(gdstk.Reference(m2m3_c_cdns_778501236212, (27.61,62.36)))
ptat.add(gdstk.Reference(m2m3_c_cdns_778501236212, (21.24,62.34)))
ptat.add(gdstk.Reference(m2m3_c_cdns_778501236212, (34.26,68.71)))
ptat.add(gdstk.Reference(m2m3_c_cdns_778501236212, (40.49,62.34)))
ptat.add(gdstk.Reference(m2m3_c_cdns_778501236212, (27.71,68.67)))
ptat.add(gdstk.Reference(m2m3_c_cdns_778501236212, (21.17,57.01)))
ptat.add(gdstk.Reference(m2m3_c_cdns_778501236212, (20.115,83.64)))
ptat.add(gdstk.Reference(m2m3_c_cdns_778501236212, (21.33,68.71)))
ptat.add(gdstk.Reference(m2m3_c_cdns_778501236212, (34.01,62.39)))
ptat.add(gdstk.Reference(m1m2_c_cdns_778501236215, (27.61,62.36)))
ptat.add(gdstk.Reference(m1m2_c_cdns_778501236215, (40.45,68.67)))
ptat.add(gdstk.Reference(m1m2_c_cdns_778501236215, (21.17,57.01)))
ptat.add(gdstk.Reference(m1m2_c_cdns_778501236215, (20.11,77.76)))
ptat.add(gdstk.Reference(m1m2_c_cdns_778501236215, (27.71,68.67)))
ptat.add(gdstk.Reference(m1m2_c_cdns_778501236215, (21.33,68.71)))
ptat.add(gdstk.Reference(m1m2_c_cdns_778501236215, (34.26,68.71)))
ptat.add(gdstk.Reference(m1m2_c_cdns_778501236215, (21.24,62.34)))
ptat.add(gdstk.Reference(m1m2_c_cdns_778501236215, (20.115,83.64)))
ptat.add(gdstk.Reference(m1m2_c_cdns_778501236215, (34.01,62.39)))
ptat.add(gdstk.Reference(m1m2_c_cdns_778501236215, (40.49,62.34)))
ptat.add(gdstk.Label('IPTAT', (18.985,82.495), layer=68, texttype=16))
ptat.add(gdstk.Label('GND', (8.49,59.36), layer=68, texttype=16))
ptat.add(gdstk.Label('VDD', (9.43,82.615), layer=68, texttype=16))
ptat.add(gdstk.Label('VDD', (7.38,83.01), layer=68, texttype=20))
ptat.add(gdstk.Label('VP1', (7.38,87.82), layer=68, texttype=20))
ptat.add(gdstk.Label('VP1', (8.02,85.495), layer=68, texttype=20))
ptat.add(gdstk.Label('VDD', (6.74,85.495), layer=68, texttype=20))
ptat.add(gdstk.Label('VDD', (12.57,83.005), layer=68, texttype=20))
ptat.add(gdstk.Label('VP1', (12.57,87.815), layer=68, texttype=20))
ptat.add(gdstk.Label('IPTAT', (13.21,85.49), layer=68, texttype=20))
ptat.add(gdstk.Label('VDD', (11.93,85.49), layer=68, texttype=20))
ptat.add(gdstk.Label('VDD', (7.38,85.18), layer=64, texttype=20))
ptat.add(gdstk.Label('VDD', (12.57,85.175), layer=64, texttype=20))
ptat.add(gdstk.Label('VP1', (8.012,85.495), layer=65, texttype=20))
ptat.add(gdstk.Label('VDD', (6.747,85.495), layer=65, texttype=20))
ptat.add(gdstk.Label('IPTAT', (13.202,85.49), layer=65, texttype=20))
ptat.add(gdstk.Label('VDD', (11.937,85.49), layer=65, texttype=20))
ptat.add(gdstk.Label('VP1', (7.38,87.82), layer=67, texttype=20))
ptat.add(gdstk.Label('VP1', (12.57,87.815), layer=67, texttype=20))
ptat.add(gdstk.Label('IPTAT', (18.985,82.495), layer=83, texttype=44))
ptat.add(gdstk.Label('GND', (8.49,59.36), layer=83, texttype=44))
ptat.add(gdstk.Label('VDD', (9.43,82.615), layer=83, texttype=44))
ptat.add(gdstk.Label('VBase', (40.42,64.52), layer=68, texttype=5))
ptat.add(gdstk.Label('VBase', (34.12,64.47), layer=68, texttype=5))
ptat.add(gdstk.Label('VBase', (27.64,64.47), layer=68, texttype=5))
ptat.add(gdstk.Label('VBase', (21.21,64.42), layer=68, texttype=5))
ptat.add(gdstk.Label('VBase', (40.79,70.86), layer=68, texttype=5))
ptat.add(gdstk.Label('GND', (26.59,59.23), layer=68, texttype=5))
ptat.add(gdstk.Label('GND', (27.41,71.64), layer=68, texttype=5))
ptat.add(gdstk.Label('GND', (28.01,65.57), layer=68, texttype=5))
ptat.add(gdstk.Label('VE1', (21.24,68.72), layer=68, texttype=5))
ptat.add(gdstk.Label('VE1', (27.7,68.76), layer=68, texttype=5))
ptat.add(gdstk.Label('VE1', (34.24,68.73), layer=68, texttype=5))
ptat.add(gdstk.Label('VE1', (40.65,68.74), layer=68, texttype=5))
ptat.add(gdstk.Label('VE1', (40.57,62.26), layer=68, texttype=5))
ptat.add(gdstk.Label('VE1', (34.18,62.28), layer=68, texttype=5))
ptat.add(gdstk.Label('VE1', (27.66,62.33), layer=68, texttype=5))
ptat.add(gdstk.Label('IPTAT', (19.99,77.78), layer=68, texttype=5))
ptat.add(gdstk.Label('GND', (19.99,76.15), layer=68, texttype=5))
ptat.add(gdstk.Label('VBase', (19.9,78.69), layer=68, texttype=5))
ptat.add(gdstk.Label('VBase', (34.12,70.95), layer=68, texttype=5))
ptat.add(gdstk.Label('VBase', (21.18,70.95), layer=68, texttype=5))
ptat.add(gdstk.Label('VE1', (21.27,62.36), layer=68, texttype=5))
ptat.add(gdstk.Label('VE1', (8.01,1.91), layer=68, texttype=5))
ptat.add(gdstk.Label('VP1', (8.27,56.46), layer=68, texttype=5))
ptat.add(gdstk.Label('VBase', (27.53,70.98), layer=68, texttype=5))

lib.write_gds('ptat.gds')
